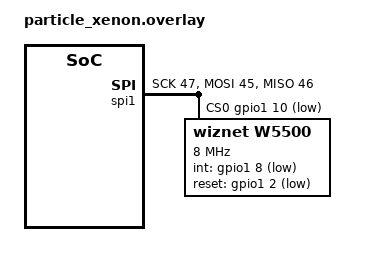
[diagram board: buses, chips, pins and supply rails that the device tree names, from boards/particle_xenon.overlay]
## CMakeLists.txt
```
# SPDX-License-Identifier: Apache-2.0

cmake_minimum_required(VERSION 3.20.0)

set(SNIPPET golioth-sample)

find_package(Zephyr REQUIRED HINTS $ENV{ZEPHYR_BASE})
project(hello)

target_sources(app PRIVATE src/main.c)
```

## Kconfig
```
# Copyright (c) 2021 Golioth, Inc.
# SPDX-License-Identifier: Apache-2.0

mainmenu "Golioth application options"

config NET_BUF_TX_COUNT
	default 32 if GOLIOTH_AUTH_METHOD_CERT && WIFI_ESP_AT

source "Kconfig.zephyr"
```

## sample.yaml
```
sample:
  description: Say Hello to Golioth server
  name: hello
common:
  harness: console
  harness_config:
    type: one_line
    regex:
      - "(.*)Client connected!"
  tags: golioth socket goliothd
tests:
  sample.golioth.hello.psk.fast.default:
    platform_allow: >
      esp32_devkitc_wroom
      mimxrt1060_evkb
      nrf52840dk_nrf52840
      qemu_x86
  sample.golioth.hello.psk.fast.gcm:
    platform_allow: >
      esp32_devkitc_wroom
      mimxrt1060_evkb
      nrf52840dk_nrf52840
      qemu_x86
    extra_configs:
      - CONFIG_MBEDTLS_CIPHER_GCM_ENABLED=y
      - CONFIG_MBEDTLS_CIPHER_CCM_ENABLED=n
      - CONFIG_MBEDTLS_CIPHER_MODE_CBC_ENABLED=n
  sample.golioth.hello.psk.fast.ccm:
    platform_allow: >
      esp32_devkitc_wroom
      mimxrt1060_evkb
      nrf52840dk_nrf52840
      qemu_x86
    extra_configs:
      - CONFIG_MBEDTLS_CIPHER_GCM_ENABLED=n
      - CONFIG_MBEDTLS_CIPHER_CCM_ENABLED=y
      - CONFIG_MBEDTLS_CIPHER_MODE_CBC_ENABLED=n
  sample.golioth.hello.psk.fast.cbc:
    platform_allow: >
      esp32_devkitc_wroom
      mimxrt1060_evkb
      nrf52840dk_nrf52840
      qemu_x86
    extra_configs:
      - CONFIG_MBEDTLS_CIPHER_GCM_ENABLED=n
      - CONFIG_MBEDTLS_CIPHER_CCM_ENABLED=n
      - CONFIG_MBEDTLS_CIPHER_MODE_CBC_ENABLED=y
  sample.golioth.hello.psk.fast.ccm_8:
    platform_allow: >
      esp32_devkitc_wroom
      mimxrt1060_evkb
      nrf52840dk_nrf52840
      qemu_x86
    extra_configs:
      - CONFIG_MBEDTLS_CIPHER_GCM_ENABLED=n
      - CONFIG_MBEDTLS_CIPHER_CCM_ENABLED=y
      - CONFIG_MBEDTLS_CIPHER_MODE_CBC_ENABLED=n
      - CONFIG_GOLIOTH_CIPHERSUITES="TLS_PSK_WITH_AES_128_CCM_8"
  sample.golioth.hello.psk.fast.cid:
    platform_allow: >
      esp32_devkitc_wroom
      mimxrt1060_evkb
      nrf52840dk_nrf52840
      qemu_x86
    extra_configs:
      - CONFIG_GOLIOTH_USE_CONNECTION_ID=y
  sample.golioth.hello.psk.long_start.cid:
    platform_allow: nrf9160dk_nrf9160_ns
    timeout: 120
    extra_configs:
      - CONFIG_GOLIOTH_USE_CONNECTION_ID=y
  sample.golioth.hello.psk.long_start:
    platform_allow: nrf9160dk_nrf9160_ns
    timeout: 120
  sample.golioth.hello.cert.buildonly:
    build_only: true
    extra_configs:
      - CONFIG_GOLIOTH_AUTH_METHOD_CERT=y
      # Make it build by providing path that can be resolved
      - CONFIG_GOLIOTH_SAMPLE_HARDCODED_CRT_PATH="prj.conf"
      - CONFIG_GOLIOTH_SAMPLE_HARDCODED_KEY_PATH="prj.conf"
  sample.golioth.hello.cert.runtime:
    filter: >-
      CONFIG_GOLIOTH_SAMPLE_HARDCODED_CRT_PATH and
      CONFIG_GOLIOTH_SAMPLE_HARDCODED_KEY_PATH
    extra_configs:
      - CONFIG_GOLIOTH_AUTH_METHOD_CERT=y
  sample.golioth.hello.psk.runtime.buildonly:
    build_only: true
    extra_args: EXTRA_CONF_FILE="../common/runtime_settings.conf"
```

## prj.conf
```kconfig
CONFIG_GOLIOTH_SAMPLES_COMMON=y

# Logging
CONFIG_NET_LOG=y

# Network Shell
CONFIG_NET_SHELL=y

# Application
CONFIG_LOG_BACKEND_GOLIOTH=y
```

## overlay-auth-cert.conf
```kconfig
CONFIG_GOLIOTH_AUTH_METHOD_CERT=y
CONFIG_MBEDTLS_HEAP_SIZE=32768
CONFIG_MBEDTLS_SSL_MAX_CONTENT_LEN=4096
```

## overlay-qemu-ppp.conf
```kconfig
CONFIG_NET_QEMU_PPP=y
CONFIG_NET_L2_PPP=y
CONFIG_NET_PPP=y
CONFIG_NET_PPP_UART_NAME="UART_1"
CONFIG_NET_PPP_RINGBUF_SIZE=2048
```

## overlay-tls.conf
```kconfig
CONFIG_MAIN_STACK_SIZE=4096

# TLS configuration
CONFIG_MBEDTLS=y
CONFIG_MBEDTLS_BUILTIN=y
CONFIG_MBEDTLS_ENABLE_HEAP=y
CONFIG_MBEDTLS_HEAP_SIZE=8192
CONFIG_MBEDTLS_SSL_MAX_CONTENT_LEN=2048

CONFIG_NET_SOCKETS_SOCKOPT_TLS=y
CONFIG_NET_SOCKETS_ENABLE_DTLS=y

CONFIG_MBEDTLS_KEY_EXCHANGE_PSK_ENABLED=y
CONFIG_MBEDTLS_CIPHER_CCM_ENABLED=y
CONFIG_MBEDTLS_CIPHER_GCM_ENABLED=y
```

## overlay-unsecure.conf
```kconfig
CONFIG_NET_SOCKETS_SOCKOPT_TLS=n
CONFIG_NET_SOCKETS_ENABLE_DTLS=n
```

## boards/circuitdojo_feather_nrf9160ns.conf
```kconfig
#
# Copyright (c) 2021 Golioth, Inc.
#
# SPDX-License-Identifier: Apache-2.0

# General config
CONFIG_HEAP_MEM_POOL_SIZE=4096
CONFIG_NEWLIB_LIBC=y

# Networking
CONFIG_NET_NATIVE=n
CONFIG_NET_SOCKETS_OFFLOAD=y

# Use Zephyr mbedTLS, as there was no success so far with using offloaded TLS in
# modem library.
CONFIG_NET_SOCKETS_OFFLOAD_TLS=n

# LTE link control
CONFIG_LTE_LINK_CONTROL=y
CONFIG_LTE_AUTO_INIT_AND_CONNECT=y

# Modem library
CONFIG_NRF_MODEM_LIB=y

# Offloaded poll() does not support external events like eventfd, so use timeout
# in poll() instead.
CONFIG_GOLIOTH_SYSTEM_CLIENT_TIMEOUT_USING_POLL=y
```

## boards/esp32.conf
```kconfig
CONFIG_WIFI=y
CONFIG_WIFI_ESP32=y
CONFIG_HEAP_MEM_POOL_SIZE=131072

CONFIG_NET_L2_ETHERNET=y

CONFIG_NET_DHCPV4=y

CONFIG_MBEDTLS_ENTROPY_ENABLED=y
CONFIG_MBEDTLS_KEY_EXCHANGE_ECDHE_ECDSA_ENABLED=y
CONFIG_MBEDTLS_ECP_ALL_ENABLED=y

CONFIG_ESP32_WIFI_STA_AUTO=y
```

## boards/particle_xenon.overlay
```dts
&spi1 { /* feather SPI */
	/* W5500 connected over SPI */
	compatible = "nordic,nrf-spim";
	status = "okay";
	sck-pin = <47>; /* D13 */
	mosi-pin = <45>; /* D14 */
	miso-pin = <46>; /* D11 */
	cs-gpios = <&gpio1 10 GPIO_ACTIVE_LOW>; /* D5 */

	w5500: w5500@0 {
		compatible = "wiznet,w5500";
		label = "w5500";
		status = "okay";
		reg = <0x0>;
		spi-max-frequency = <8000000>;
		int-gpios = <&gpio1 8 GPIO_ACTIVE_LOW>; /* D4 */
		reset-gpios = <&gpio1 2 GPIO_ACTIVE_LOW>; /* D3 */
	};
};
```

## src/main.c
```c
/*
 * Copyright (c) 2021 Golioth, Inc.
 *
 * SPDX-License-Identifier: Apache-2.0
 */

#include <zephyr/logging/log.h>
LOG_MODULE_REGISTER(golioth_hello, LOG_LEVEL_DBG);

#include <net/golioth/system_client.h>
#include <samples/common/net_connect.h>
#include <zephyr/net/coap.h>

static struct golioth_client *client = GOLIOTH_SYSTEM_CLIENT_GET();

static K_SEM_DEFINE(connected, 0, 1);

static void golioth_on_connect(struct golioth_client *client)
{
	k_sem_give(&connected);
}

int main(void)
{
	int counter = 0;
	int err;

	LOG_DBG("Start Hello sample");

	net_connect();

	client->on_connect = golioth_on_connect;
	golioth_system_client_start();

	k_sem_take(&connected, K_FOREVER);

	while (true) {
		LOG_INF("Sending hello! %d", counter);

		err = golioth_send_hello(client);
		if (err) {
			LOG_WRN("Failed to send hello!");
		}
		++counter;
		k_sleep(K_SECONDS(5));
	}

	return 0;
}
```
